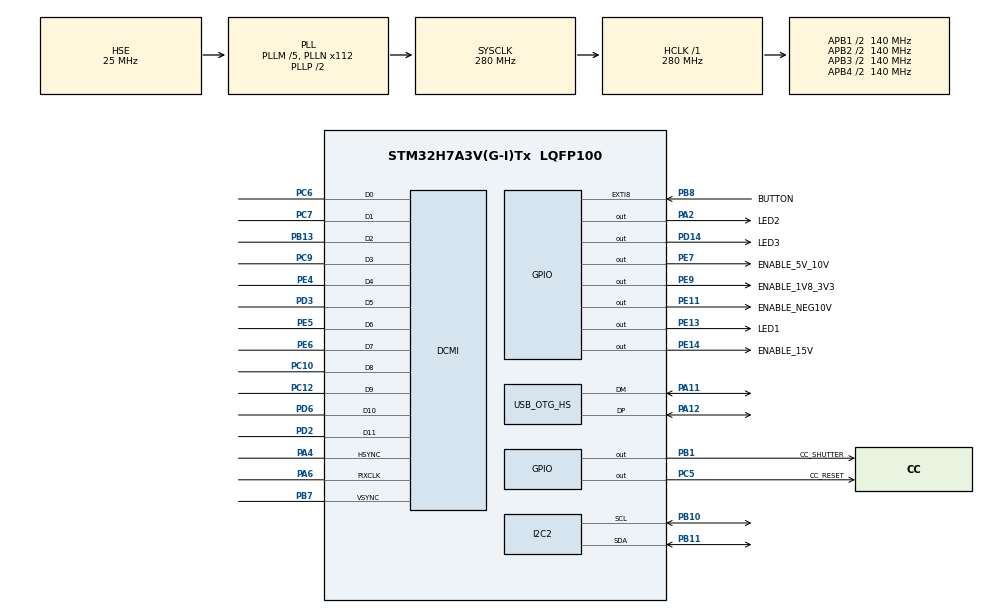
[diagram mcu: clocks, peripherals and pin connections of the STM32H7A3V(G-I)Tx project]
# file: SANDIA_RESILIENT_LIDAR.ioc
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CORTEX_M7.AccessPermission_Spec=MPU_REGION_FULL_ACCESS
CORTEX_M7.BaseAddress_Spec=0x30000000
CORTEX_M7.CPU_DCache=Enabled
CORTEX_M7.CPU_ICache=Enabled
CORTEX_M7.MPU_Control=MPU_PRIVILEGED_DEFAULT
CORTEX_M7.Size_Spec=MPU_REGION_SIZE_4KB
CORTEX_M7.SubRegionDisable_Spec=0x0
CORTEX_M7.default_mode_Activation=1
DCMI.HSPolarity=DCMI_HSPOLARITY_HIGH
DCMI.PCKPolarity=DCMI_PCKPOLARITY_FALLING
DCMI.VSPolarity=DCMI_VSPOLARITY_HIGH
Dma.DCMI.0.Direction=DMA_PERIPH_TO_MEMORY
Dma.DCMI.0.EventEnable=DISABLE
Dma.DCMI.0.FIFOMode=DMA_FIFOMODE_DISABLE
Dma.DCMI.0.Instance=DMA1_Stream0
Dma.DCMI.0.MemDataAlignment=DMA_MDATAALIGN_WORD
Dma.DCMI.0.MemInc=DMA_MINC_ENABLE
Dma.DCMI.0.Mode=DMA_NORMAL
Dma.DCMI.0.PeriphDataAlignment=DMA_PDATAALIGN_WORD
Dma.DCMI.0.PeriphInc=DMA_PINC_DISABLE
Dma.DCMI.0.Polarity=HAL_DMAMUX_REQ_GEN_RISING
Dma.DCMI.0.Priority=DMA_PRIORITY_LOW
Dma.DCMI.0.RequestNumber=1
Dma.DCMI.0.SignalID=NONE
Dma.DCMI.0.SyncEnable=DISABLE
Dma.DCMI.0.SyncPolarity=HAL_DMAMUX_SYNC_NO_EVENT
Dma.DCMI.0.SyncRequestNumber=1
Dma.DCMI.0.SyncSignalID=NONE
Dma.Request0=DCMI
I2C2.Timing=0x20B0CCFF
Mcu.Family=STM32H7
Mcu.Name=STM32H7A3V(G-I)Tx
Mcu.Package=LQFP100
NVIC.DCMI_PSSI_IRQn=true\:3\:0\:true\:false\:true\:true\:true\:true
NVIC.DMA1_Stream0_IRQn=true\:2\:0\:true\:false\:true\:false\:true\:true
NVIC.EXTI9_5_IRQn=true\:0\:0\:false\:false\:true\:true\:true\:true
NVIC.OTG_HS_IRQn=true\:3\:0\:true\:false\:true\:false\:true\:true
NVIC.PriorityGroup=NVIC_PRIORITYGROUP_4
PA11.GPIO_Speed=GPIO_SPEED_FREQ_VERY_HIGH
PA11.Mode=Device_Only_FS
PA11.Signal=USB_OTG_HS_DM
PA12.GPIO_Speed=GPIO_SPEED_FREQ_VERY_HIGH
PA12.Mode=Device_Only_FS
PA12.Signal=USB_OTG_HS_DP
PA13.Mode=Serial_Wire
PA13.Signal=DEBUG_JTMS-SWDIO
PA14.Mode=Serial_Wire
PA14.Signal=DEBUG_JTCK-SWCLK
PA2.GPIO_Label=LED2
PA2.GPIO_ModeDefaultOutputPP=GPIO_MODE_OUTPUT_PP
PA2.Signal=GPIO_Output
PA4.GPIO_Speed=GPIO_SPEED_FREQ_MEDIUM
PA4.Mode=Slave_12_bits_External_Synchro
PA4.Signal=DCMI_HSYNC
PA6.GPIO_Speed=GPIO_SPEED_FREQ_MEDIUM
PA6.Mode=Slave_12_bits_External_Synchro
PA6.Signal=DCMI_PIXCLK
PB1.GPIO_Label=CC_SHUTTER
PB1.Signal=GPIO_Output
PB10.GPIO_Pu=GPIO_NOPULL
PB10.GPIO_Speed=GPIO_SPEED_FREQ_MEDIUM
PB10.Mode=I2C
PB10.Signal=I2C2_SCL
PB11.GPIO_Pu=GPIO_NOPULL
PB11.GPIO_Speed=GPIO_SPEED_FREQ_MEDIUM
PB11.Mode=I2C
PB11.Signal=I2C2_SDA
PB13.GPIO_Speed=GPIO_SPEED_FREQ_MEDIUM
PB13.Mode=Slave_12_bits_External_Synchro
PB13.Signal=DCMI_D2
PB7.GPIO_Speed=GPIO_SPEED_FREQ_MEDIUM
PB7.Mode=Slave_12_bits_External_Synchro
PB7.Signal=DCMI_VSYNC
PB8.GPIO_Label=BUTTON
PB8.GPIO_ModeDefaultEXTI=GPIO_MODE_IT_FALLING
PB8.GPIO_PuPd=GPIO_PULLUP
PB8.Signal=GPXTI8
PC10.GPIO_Speed=GPIO_SPEED_FREQ_MEDIUM
PC10.Mode=Slave_12_bits_External_Synchro
PC10.Signal=DCMI_D8
PC12.GPIO_Speed=GPIO_SPEED_FREQ_MEDIUM
PC12.Mode=Slave_12_bits_External_Synchro
PC12.Signal=DCMI_D9
PC5.GPIO_Label=CC_RESET
PC5.PinState=GPIO_PIN_RESET
PC5.Signal=GPIO_Output
PC6.GPIO_Speed=GPIO_SPEED_FREQ_MEDIUM
PC6.Mode=Slave_12_bits_External_Synchro
PC6.Signal=DCMI_D0
PC7.GPIO_Speed=GPIO_SPEED_FREQ_MEDIUM
PC7.Mode=Slave_12_bits_External_Synchro
PC7.Signal=DCMI_D1
PC9.GPIO_Speed=GPIO_SPEED_FREQ_MEDIUM
PC9.Mode=Slave_12_bits_External_Synchro
PC9.Signal=DCMI_D3
PD14.GPIO_Label=LED3
PD14.Signal=GPIO_Output
PD2.GPIO_Speed=GPIO_SPEED_FREQ_MEDIUM
PD2.Mode=Slave_12_bits_External_Synchro
PD2.Signal=DCMI_D11
PD3.GPIO_Speed=GPIO_SPEED_FREQ_MEDIUM
PD3.Mode=Slave_12_bits_External_Synchro
PD3.Signal=DCMI_D5
PD6.GPIO_Speed=GPIO_SPEED_FREQ_MEDIUM
PD6.Mode=Slave_12_bits_External_Synchro
PD6.Signal=DCMI_D10
PE11.GPIO_Label=ENABLE_NEG10V
PE11.Signal=GPIO_Output
PE13.GPIO_Label=LED1
PE13.Signal=GPIO_Output
PE14.GPIO_Label=ENABLE_15V
PE14.Signal=GPIO_Output
PE4.GPIO_Speed=GPIO_SPEED_FREQ_MEDIUM
PE4.Mode=Slave_12_bits_External_Synchro
PE4.Signal=DCMI_D4
PE5.GPIO_Speed=GPIO_SPEED_FREQ_MEDIUM
PE5.Mode=Slave_12_bits_External_Synchro
PE5.Signal=DCMI_D6
PE6.GPIO_Speed=GPIO_SPEED_FREQ_MEDIUM
PE6.Mode=Slave_12_bits_External_Synchro
PE6.Signal=DCMI_D7
PE7.GPIO_Label=ENABLE_5V_10V
PE7.Signal=GPIO_Output
PE9.GPIO_Label=ENABLE_1V8_3V3
PE9.Signal=GPIO_Output
PH0-OSC_IN.Mode=HSE-External-Oscillator
PH0-OSC_IN.Signal=RCC_OSC_IN
PH1-OSC_OUT.Mode=HSE-External-Oscillator
PH1-OSC_OUT.Signal=RCC_OSC_OUT
ProjectManager.HeapSize=0x200
ProjectManager.StackSize=0x400
ProjectManager.TargetToolchain=STM32CubeIDE
RCC.ADCFreq_Value=50390625
RCC.APB1Freq_Value=140000000
RCC.APB2Freq_Value=140000000
RCC.APB3Freq_Value=140000000
RCC.APB4Freq_Value=140000000
RCC.CDPPRE=RCC_APB3_DIV2
RCC.CDPPRE1=RCC_APB1_DIV2
RCC.CDPPRE2=RCC_APB2_DIV2
RCC.CortexFreq_Value=280000000
RCC.DIVM1=5
RCC.DIVM3=5
RCC.DIVN1=112
RCC.DIVN3=96
RCC.DIVQ3=10
RCC.HCLKFreq_Value=280000000
RCC.HSE_VALUE=25000000
RCC.PLLSourceVirtual=RCC_PLLSOURCE_HSE
RCC.SRDPPRE=RCC_APB4_DIV2
RCC.SYSCLKFreq_VALUE=280000000
RCC.SYSCLKSource=RCC_SYSCLKSOURCE_PLLCLK
RCC.USBCLockSelection=RCC_USBCLKSOURCE_PLL3
RCC.USBFreq_Value=48000000
USB_DEVICE.CLASS_NAME_HS=CDC
USB_DEVICE.VirtualMode=Cdc
USB_DEVICE.VirtualModeHS=Cdc_HS
USB_OTG_HS.VirtualMode-Device_Only_FS=Device_Only_FS
VP_MEMORYMAP_VS_MEMORYMAP.Mode=CurAppReg
VP_USB_DEVICE_VS_USB_DEVICE_CDC_HS.Mode=CDC_HS
board=custom

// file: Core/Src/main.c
/* USER CODE BEGIN Header */
/**
  ******************************************************************************
  * @file           : main.c
  * @brief          : Main program body
  ******************************************************************************
  * @attention
  *
  * Copyright (c) 2026 STMicroelectronics.
  * All rights reserved.
  *
  * This software is licensed under terms that can be found in the LICENSE file
  * in the root directory of this software component.
  * If no LICENSE file comes with this software, it is provided AS-IS.
  *
  ******************************************************************************
  */
/* USER CODE END Header */
#include "main.h"
#include "usb_device.h"

/* USER CODE BEGIN Includes */
#include <stdio.h>
#include <string.h>
#include <stdarg.h>

#include "usbd_cdc_if.h"
#include "usbd_core.h"
#include "usbd_desc.h"

#include "core_cm7.h"

#include "epc660.h"
#include "epc660_platform.h"
#include "epc660_config.h"
#include "epc660_reg.h"
#include "usb_stream.h"
#include "capture_controller.h"
/* USER CODE END Includes */

/* USER CODE BEGIN PTD */

typedef enum
{
  CAPTURE_4DCS = 0,
  CAPTURE_2DCS,
  CAPTURE_AMPLITUDE,
  CAPTURE_GRAYSCALE
} capture_types;

typedef enum
{
  EPC660_POWER_ON = 0,
  EPC660_POWER_OFF
} epc660_power_state_t;

/* USER CODE END PTD */

/* USER CODE BEGIN PD */
#define IMG_WIDTH 320
#define IMG_HEIGHT 240
#define SINGLE_FRAME_SIZE (IMG_WIDTH * IMG_HEIGHT)
#define NUM_FRAMES 4

#define PHASE_TO_U16_SCALE (10430.378f)
#define BUTTON_DEBOUNCE_MS 150U
#define POWER_OFF_BLINK_MS 100U
#define CAPTURE_WAIT_TIMEOUT_MS 2000U

#ifndef M_PI
#define M_PI (3.14159265358979323846)
#endif
/* USER CODE END PD */

DCMI_HandleTypeDef hdcmi;
DMA_HandleTypeDef hdma_dcmi;

I2C_HandleTypeDef hi2c2;

/* USER CODE BEGIN PV */

/******************************* DEBUGGING TRIGGERS *******************************/
static volatile uint8_t trigger_debug = 0;
static volatile uint8_t trigger_amplitude = 0;
/******************************* DEBUGGING TRIGGERS *******************************/

extern uint8_t UserTxBufferHS[]; /* Access the buffer we moved to Safe RAM */
extern USBD_HandleTypeDef hUsbDeviceHS;
extern PCD_HandleTypeDef hpcd_USB_OTG_HS;

static uint16_t quad_frame_buffer[IMG_WIDTH*IMG_HEIGHT*NUM_FRAMES] __attribute__((aligned(32)));

// One buffer to reference frame angles
static uint16_t reference_angle_buffer[SINGLE_FRAME_SIZE] __attribute__((aligned(32)));

// One buffer for current frame angles
static uint16_t current_angle_buffer[SINGLE_FRAME_SIZE] __attribute__((aligned(32)));

// Active buffer to transmit over USB (processed output or raw grayscale frame)
static uint16_t* current_output_buffer = current_angle_buffer;

// A "flag" to signal when a frame is ready to be sent
static volatile uint8_t frame_ready = 0;

// Pointers to the start of each frame
static uint16_t* p_frame1 = &quad_frame_buffer[SINGLE_FRAME_SIZE * 0];
static uint16_t* p_frame2 = &quad_frame_buffer[SINGLE_FRAME_SIZE * 1];
static uint16_t* p_frame3 = &quad_frame_buffer[SINGLE_FRAME_SIZE * 2];
static uint16_t* p_frame4 = &quad_frame_buffer[SINGLE_FRAME_SIZE * 3];

static const uint32_t k_dcmi_dma_length = (SINGLE_FRAME_SIZE * NUM_FRAMES) / 2;
static const uint32_t k_dcmi_dma_length_grayscale = SINGLE_FRAME_SIZE / 2;
static uint32_t current_dcmi_dma_length = k_dcmi_dma_length;

static volatile uint8_t all_frames_ready = 0;
static volatile capture_types current_capture_type = CAPTURE_4DCS;
volatile uint8_t g_usb_capture_request_pending = 0;
volatile uint8_t g_usb_status_request_pending = 0;
static volatile uint8_t dcmi_error_flag = 0;
static volatile uint8_t reset_epc660_flag = 0;
static volatile epc660_power_state_t epc660_power_state = EPC660_POWER_ON;
static volatile uint8_t epc660_power_toggle_request = 0;
static volatile uint32_t button_last_press_ms = 0;
static volatile uint32_t saturated_pixel_count = 0;

static volatile uint32_t dbg_stats_valid_count = 0;
static volatile uint32_t dbg_stats_saturated_count = 0;
static volatile float dbg_mean_dcs0 = 0.0f;
static volatile float dbg_mean_dcs1 = 0.0f;
static volatile float dbg_mean_dcs2 = 0.0f;
static volatile float dbg_mean_dcs3 = 0.0f;
static volatile float dbg_mean_abs_i = 0.0f;
static volatile float dbg_mean_abs_q = 0.0f;

static volatile capture_sm_state_t capture_sm_state = CAPTURE_SM_IDLE;
static volatile uint8_t capture_request_active = 0;
static volatile uint8_t capture_recovery_attempted = 0;
static volatile uint32_t capture_wait_start_ms = 0;

static volatile uint32_t shutter_count = 0;
static volatile uint32_t start_dma_ok_count = 0;
static volatile uint32_t start_dma_fail_count = 0;
static volatile uint32_t frame_cb_count = 0;
static volatile uint32_t frame_timeout_count = 0;
static volatile uint32_t tx_frame_ok_count = 0;
static volatile uint32_t tx_frame_abort_count = 0;
static volatile uint32_t power_cycle_count = 0;
static volatile uint32_t pause_resume_count = 0;

extern USBD_HandleTypeDef hUsbDeviceHS;

// Some timer variables to be used with DWT
static volatile uint32_t tDCMI_start, tDCMI_end;

// Watchdog counter
volatile uint32_t g_last_feed_time = 0;

/* USER CODE END PV */

void SystemClock_Config(void);
static void MPU_Config(void);
static void MX_GPIO_Init(void);
static void MX_DMA_Init(void);
static void MX_I2C2_Init(void);
static void MX_DCMI_Init(void);
/* USER CODE BEGIN PFP */

static uint8_t process_and_transmit_data(void);
static void handle_dcmi_error(void);
static epc_status_t apply_capture_preset(void);
static void handle_epc660_reset(void);
static void handle_epc660_power_toggle_request(void);
static epc_status_t power_up_epc660_and_resume_capture(void);
static void power_down_epc660(void);
static void usb_stop_cleanly(void);
static void usb_start_nonfatal(void);
static void dcmi_stop_abort_and_clear(void);
static void reset_capture_runtime_flags(void);
static uint8_t start_capture_once(void);
static void process_usb_command_queue(void);
static uint8_t send_usb_command_response(uint8_t sequence,
                                         uint8_t command,
                                         uint8_t status,
                                         const uint8_t* payload,
                                         uint8_t payload_len);
static uint16_t usb_cmd_crc16_ccitt(const uint8_t* data, uint32_t length);
static void send_debug_status_line(void);
static void run_capture_state_machine(void);
void calculate_depth_simple(void);
void calculate_amplitude_simple(void);
void calculate_grayscale_simple(void);

epc_status_t default_preset_4DCS();
epc_status_t default_preset_grayscale();
epc_status_t testing_preset();
epc_status_t testing_preset2();

/* USER CODE END PFP */

int main(void)
{

  /* MPU Configuration--------------------------------------------------------*/
  MPU_Config();

  /* Enable the CPU Cache */

  /* Enable I-Cache---------------------------------------------------------*/
  SCB_EnableICache();

  /* Enable D-Cache---------------------------------------------------------*/
  SCB_EnableDCache();

  /* MCU Configuration--------------------------------------------------------*/

  /* Reset of all peripherals, Initializes the Flash interface and the Systick. */
  HAL_Init();

  /* Configure the system clock */
  SystemClock_Config();

  /* Initialize all configured peripherals */
  MX_GPIO_Init();
  MX_DMA_Init();
  MX_I2C2_Init();
  //MX_USB_DEVICE_Init();
  MX_DCMI_Init();
  /* USER CODE BEGIN 2 */

  // This is a replacement of DWT_init
  epc_timer_init();

  // TODO: Should be removed from this section
  uint32_t loop_tick = 0;
  uint32_t frame_timeout_ms = 5000;

  (void)epc_i2c_recover_bus();
  epc_status_t init_status = epc660_power_up();
  if (init_status == EPC_OK)
  {
    init_status = epc660_init();
  }

  if (init_status != EPC_OK)
  {
    power_down_epc660();
  }

  usb_start_nonfatal();

  all_frames_ready = 0;

  if (epc660_power_state == EPC660_POWER_ON)
  {
    epc_status_t preset_status = apply_capture_preset();

    if (preset_status != EPC_OK)
    {
      power_down_epc660();
    }
    else
    {
      reset_capture_runtime_flags();
      capture_sm_state = CAPTURE_SM_IDLE;
    }
  }

  /* USER CODE END 2 */

  /* Infinite loop */
  /* USER CODE BEGIN WHILE */
  while (1)
  {
    // Feed the dog	TODO: Currently disabled, need to re-enable later
    g_last_feed_time = HAL_GetTick();

    if (epc660_power_toggle_request == 1)
    {
      handle_epc660_power_toggle_request();
    }

    process_usb_command_queue();

    if (g_usb_status_request_pending != 0U)
    {
      send_debug_status_line();
      g_usb_status_request_pending = 0U;
    }

    if (epc660_power_state == EPC660_POWER_OFF)
    {
      HAL_GPIO_TogglePin(LED1_GPIO_Port, LED1_Pin);
      HAL_Delay(POWER_OFF_BLINK_MS);
      continue;
    }

	  // Blinking light to make sure main loop is still running
	  if (HAL_GetTick() - loop_tick > frame_timeout_ms)
	  {
		  HAL_GPIO_TogglePin(LED2_GPIO_Port, LED2_Pin);
		  loop_tick = HAL_GetTick();
	  }

	  // If user sends configuration information
	  // If time to do temperature calibration

    run_capture_state_machine();

    if (reset_epc660_flag == 1)
    {
      handle_epc660_reset();
    }
    /* USER CODE END WHILE */

    /* USER CODE BEGIN 3 */
    // Feed the dog	TODO: Currently disabled, need to re-enable later
    if (trigger_debug == 1)
    {
      default_preset_4DCS();
      default_preset_grayscale();
      testing_preset2();
    }
  }
  /* USER CODE END 3 */
}

void SystemClock_Config(void)
{
  RCC_OscInitTypeDef RCC_OscInitStruct = {0};
  RCC_ClkInitTypeDef RCC_ClkInitStruct = {0};

  /*AXI clock gating */
  RCC->CKGAENR = 0xE003FFFF;

  /** Supply configuration update enable
  */
  HAL_PWREx_ConfigSupply(PWR_LDO_SUPPLY);

  /** Configure the main internal regulator output voltage
  */
  __HAL_PWR_VOLTAGESCALING_CONFIG(PWR_REGULATOR_VOLTAGE_SCALE0);

  while(!__HAL_PWR_GET_FLAG(PWR_FLAG_VOSRDY)) {}

  /** Initializes the RCC Oscillators according to the specified parameters
  * in the RCC_OscInitTypeDef structure.
  */
  RCC_OscInitStruct.OscillatorType = RCC_OSCILLATORTYPE_HSE;
  RCC_OscInitStruct.HSEState = RCC_HSE_ON;
  RCC_OscInitStruct.PLL.PLLState = RCC_PLL_ON;
  RCC_OscInitStruct.PLL.PLLSource = RCC_PLLSOURCE_HSE;
  RCC_OscInitStruct.PLL.PLLM = 5;
  RCC_OscInitStruct.PLL.PLLN = 112;
  RCC_OscInitStruct.PLL.PLLP = 2;
  RCC_OscInitStruct.PLL.PLLQ = 2;
  RCC_OscInitStruct.PLL.PLLR = 2;
  RCC_OscInitStruct.PLL.PLLRGE = RCC_PLL1VCIRANGE_2;
  RCC_OscInitStruct.PLL.PLLVCOSEL = RCC_PLL1VCOWIDE;
  RCC_OscInitStruct.PLL.PLLFRACN = 0;
  if (HAL_RCC_OscConfig(&RCC_OscInitStruct) != HAL_OK)
  {
    Error_Handler();
  }

  /** Initializes the CPU, AHB and APB buses clocks
  */
  RCC_ClkInitStruct.ClockType = RCC_CLOCKTYPE_HCLK|RCC_CLOCKTYPE_SYSCLK
                              |RCC_CLOCKTYPE_PCLK1|RCC_CLOCKTYPE_PCLK2
                              |RCC_CLOCKTYPE_D3PCLK1|RCC_CLOCKTYPE_D1PCLK1;
  RCC_ClkInitStruct.SYSCLKSource = RCC_SYSCLKSOURCE_PLLCLK;
  RCC_ClkInitStruct.SYSCLKDivider = RCC_SYSCLK_DIV1;
  RCC_ClkInitStruct.AHBCLKDivider = RCC_HCLK_DIV1;
  RCC_ClkInitStruct.APB3CLKDivider = RCC_APB3_DIV2;
  RCC_ClkInitStruct.APB1CLKDivider = RCC_APB1_DIV2;
  RCC_ClkInitStruct.APB2CLKDivider = RCC_APB2_DIV2;
  RCC_ClkInitStruct.APB4CLKDivider = RCC_APB4_DIV2;

  if (HAL_RCC_ClockConfig(&RCC_ClkInitStruct, FLASH_LATENCY_6) != HAL_OK)
  {
    Error_Handler();
  }
}

static void MX_DCMI_Init(void)
{

  hdcmi.Instance = DCMI;
  hdcmi.Init.SynchroMode = DCMI_SYNCHRO_HARDWARE;
  hdcmi.Init.PCKPolarity = DCMI_PCKPOLARITY_FALLING;
  hdcmi.Init.VSPolarity = DCMI_VSPOLARITY_HIGH;
  hdcmi.Init.HSPolarity = DCMI_HSPOLARITY_HIGH;
  hdcmi.Init.CaptureRate = DCMI_CR_ALL_FRAME;
  hdcmi.Init.ExtendedDataMode = DCMI_EXTEND_DATA_12B;
  hdcmi.Init.JPEGMode = DCMI_JPEG_DISABLE;
  hdcmi.Init.ByteSelectMode = DCMI_BSM_ALL;
  hdcmi.Init.ByteSelectStart = DCMI_OEBS_ODD;
  hdcmi.Init.LineSelectMode = DCMI_LSM_ALL;
  hdcmi.Init.LineSelectStart = DCMI_OELS_ODD;
  if (HAL_DCMI_Init(&hdcmi) != HAL_OK)
  {
    Error_Handler();
  }

}

static void MX_I2C2_Init(void)
{

  hi2c2.Instance = I2C2;
  hi2c2.Init.Timing = 0x20B0CCFF;
  hi2c2.Init.OwnAddress1 = 0;
  hi2c2.Init.AddressingMode = I2C_ADDRESSINGMODE_7BIT;
  hi2c2.Init.DualAddressMode = I2C_DUALADDRESS_DISABLE;
  hi2c2.Init.OwnAddress2 = 0;
  hi2c2.Init.OwnAddress2Masks = I2C_OA2_NOMASK;
  hi2c2.Init.GeneralCallMode = I2C_GENERALCALL_DISABLE;
  hi2c2.Init.NoStretchMode = I2C_NOSTRETCH_DISABLE;
  if (HAL_I2C_Init(&hi2c2) != HAL_OK)
  {
    Error_Handler();
  }

  /** Configure Analogue filter
  */
  if (HAL_I2CEx_ConfigAnalogFilter(&hi2c2, I2C_ANALOGFILTER_ENABLE) != HAL_OK)
  {
    Error_Handler();
  }

  /** Configure Digital filter
  */
  if (HAL_I2CEx_ConfigDigitalFilter(&hi2c2, 0) != HAL_OK)
  {
    Error_Handler();
  }

}

static void MX_DMA_Init(void)
{

  /* DMA controller clock enable */
  __HAL_RCC_DMA1_CLK_ENABLE();

  /* DMA interrupt init */
  /* DMA1_Stream0_IRQn interrupt configuration */
  HAL_NVIC_SetPriority(DMA1_Stream0_IRQn, 2, 0);
  HAL_NVIC_EnableIRQ(DMA1_Stream0_IRQn);

}

static void MX_GPIO_Init(void)
{
  GPIO_InitTypeDef GPIO_InitStruct = {0};

  /* GPIO Ports Clock Enable */
  __HAL_RCC_GPIOE_CLK_ENABLE();
  __HAL_RCC_GPIOH_CLK_ENABLE();
  __HAL_RCC_GPIOA_CLK_ENABLE();
  __HAL_RCC_GPIOC_CLK_ENABLE();
  __HAL_RCC_GPIOB_CLK_ENABLE();
  __HAL_RCC_GPIOD_CLK_ENABLE();

  /*Configure GPIO pin Output Level */
  HAL_GPIO_WritePin(LED2_GPIO_Port, LED2_Pin, GPIO_PIN_RESET);

  /*Configure GPIO pin Output Level */
  HAL_GPIO_WritePin(CC_RESET_GPIO_Port, CC_RESET_Pin, GPIO_PIN_RESET);

  /*Configure GPIO pin Output Level */
  HAL_GPIO_WritePin(CC_SHUTTER_GPIO_Port, CC_SHUTTER_Pin, GPIO_PIN_RESET);

  /*Configure GPIO pin Output Level */
  HAL_GPIO_WritePin(GPIOE, ENABLE_5V_10V_Pin|ENABLE_1V8_3V3_Pin|ENABLE_NEG10V_Pin|LED1_Pin
                          |ENABLE_15V_Pin, GPIO_PIN_RESET);

  /*Configure GPIO pin Output Level */
  HAL_GPIO_WritePin(LED3_GPIO_Port, LED3_Pin, GPIO_PIN_RESET);

  /*Configure GPIO pin : LED2_Pin */
  GPIO_InitStruct.Pin = LED2_Pin;
  GPIO_InitStruct.Mode = GPIO_MODE_OUTPUT_PP;
  GPIO_InitStruct.Pull = GPIO_NOPULL;
  GPIO_InitStruct.Speed = GPIO_SPEED_FREQ_LOW;
  HAL_GPIO_Init(LED2_GPIO_Port, &GPIO_InitStruct);

  /*Configure GPIO pin : CC_RESET_Pin */
  GPIO_InitStruct.Pin = CC_RESET_Pin;
  GPIO_InitStruct.Mode = GPIO_MODE_OUTPUT_PP;
  GPIO_InitStruct.Pull = GPIO_NOPULL;
  GPIO_InitStruct.Speed = GPIO_SPEED_FREQ_LOW;
  HAL_GPIO_Init(CC_RESET_GPIO_Port, &GPIO_InitStruct);

  /*Configure GPIO pin : CC_SHUTTER_Pin */
  GPIO_InitStruct.Pin = CC_SHUTTER_Pin;
  GPIO_InitStruct.Mode = GPIO_MODE_OUTPUT_PP;
  GPIO_InitStruct.Pull = GPIO_NOPULL;
  GPIO_InitStruct.Speed = GPIO_SPEED_FREQ_LOW;
  HAL_GPIO_Init(CC_SHUTTER_GPIO_Port, &GPIO_InitStruct);

  /*Configure GPIO pins : ENABLE_5V_10V_Pin ENABLE_1V8_3V3_Pin ENABLE_NEG10V_Pin LED1_Pin
                           ENABLE_15V_Pin */
  GPIO_InitStruct.Pin = ENABLE_5V_10V_Pin|ENABLE_1V8_3V3_Pin|ENABLE_NEG10V_Pin|LED1_Pin
                          |ENABLE_15V_Pin;
  GPIO_InitStruct.Mode = GPIO_MODE_OUTPUT_PP;
  GPIO_InitStruct.Pull = GPIO_NOPULL;
  GPIO_InitStruct.Speed = GPIO_SPEED_FREQ_LOW;
  HAL_GPIO_Init(GPIOE, &GPIO_InitStruct);

  /*Configure GPIO pin : LED3_Pin */
  GPIO_InitStruct.Pin = LED3_Pin;
  GPIO_InitStruct.Mode = GPIO_MODE_OUTPUT_PP;
  GPIO_InitStruct.Pull = GPIO_NOPULL;
  GPIO_InitStruct.Speed = GPIO_SPEED_FREQ_LOW;
  HAL_GPIO_Init(LED3_GPIO_Port, &GPIO_InitStruct);

  /*Configure GPIO pin : BUTTON_Pin */
  GPIO_InitStruct.Pin = BUTTON_Pin;
  GPIO_InitStruct.Mode = GPIO_MODE_IT_FALLING;
  GPIO_InitStruct.Pull = GPIO_PULLUP;
  HAL_GPIO_Init(BUTTON_GPIO_Port, &GPIO_InitStruct);

  /* EXTI interrupt init*/
  HAL_NVIC_SetPriority(BUTTON_EXTI_IRQn, 0, 0);
  HAL_NVIC_EnableIRQ(BUTTON_EXTI_IRQn);

}

/* USER CODE BEGIN 4 */
/************************************************* USER DEFINED FUNCTIONS ********************************************/
/************************************************* USER DEFINED FUNCTIONS ********************************************/
/************************************************* USER DEFINED FUNCTIONS ********************************************/
static uint8_t process_and_transmit_data(void)
{
  uint8_t frame_processed = 0;
  uint8_t transmit_raw_quad = 0;
  uint8_t tx_ok = 0;

  all_frames_ready = 0;
  SCB_InvalidateDCache_by_Addr((uint32_t*)quad_frame_buffer, current_dcmi_dma_length * sizeof(uint32_t));

  switch (current_capture_type)
  {
    case CAPTURE_AMPLITUDE:
      calculate_amplitude_simple();
      frame_processed = 1;
      break;

    case CAPTURE_4DCS:
      transmit_raw_quad = 1;
      break;

    case CAPTURE_GRAYSCALE:
      calculate_grayscale_simple();
      frame_processed = 1;
      break;

    case CAPTURE_2DCS:
    default:
      break;
  }

  if (transmit_raw_quad != 0)
  {
    SCB_CleanDCache_by_Addr((uint32_t*)quad_frame_buffer, SINGLE_FRAME_SIZE * NUM_FRAMES * 2);
    tx_ok = usb_stream_transmit_quad_frame(quad_frame_buffer,
                         SINGLE_FRAME_SIZE,
                         NUM_FRAMES);
  }
  else
  {
    if (frame_processed != 0)
    {
      SCB_CleanDCache_by_Addr((uint32_t*)current_output_buffer, SINGLE_FRAME_SIZE * 2);
    }

    tx_ok = usb_stream_transmit_frame(current_output_buffer,
                      SINGLE_FRAME_SIZE);
  }

  return tx_ok;
}

static epc_status_t apply_capture_preset(void)
{
  epc_status_t preset_status = EPC_OK;

  switch (current_capture_type)
  {
    case CAPTURE_4DCS:
      preset_status = default_preset_4DCS();
      current_dcmi_dma_length = k_dcmi_dma_length;
      current_output_buffer = current_angle_buffer;
      break;

    case CAPTURE_2DCS:
      preset_status = testing_preset();
      current_dcmi_dma_length = k_dcmi_dma_length;
      current_output_buffer = current_angle_buffer;
      break;

    case CAPTURE_AMPLITUDE:
      preset_status = testing_preset();
      current_dcmi_dma_length = k_dcmi_dma_length;
      current_output_buffer = current_angle_buffer;
      break;

    case CAPTURE_GRAYSCALE:
      preset_status = default_preset_grayscale();
      current_dcmi_dma_length = k_dcmi_dma_length_grayscale;
      current_output_buffer = current_angle_buffer;
      break;

    default:
      preset_status = testing_preset();
      current_dcmi_dma_length = k_dcmi_dma_length;
      current_output_buffer = current_angle_buffer;
      break;
  }

  return preset_status;
}

static void handle_epc660_reset(void)
{
  reset_epc660_flag = 0;
  reset_capture_runtime_flags();
  dcmi_stop_abort_and_clear();

  epc_reset_pin_set(0);
  epc_delay_ms(1);
  epc_reset_pin_set(1);
  epc_delay_ms(2);

  if (epc660_init() != EPC_OK)
  {
    power_down_epc660();
    return;
  }

  if (apply_capture_preset() != EPC_OK)
  {
    power_down_epc660();
    return;
  }

  capture_sm_state = CAPTURE_SM_IDLE;
}

static void handle_epc660_power_toggle_request(void)
{
  epc660_power_toggle_request = 0;
  pause_resume_count++;
  HAL_GPIO_WritePin(LED1_GPIO_Port, LED1_Pin, GPIO_PIN_RESET);

  if (epc660_power_state == EPC660_POWER_ON)
  {
    power_down_epc660();
  }
  else if (power_up_epc660_and_resume_capture() != EPC_OK)
  {
    power_down_epc660();
  }
}

static void power_down_epc660(void)
{
  reset_capture_runtime_flags();
  dcmi_stop_abort_and_clear();

  __HAL_DCMI_DISABLE_IT(&hdcmi,
                        DCMI_IT_FRAME |
                        DCMI_IT_OVF |
                        DCMI_IT_ERR |
                        DCMI_IT_VSYNC |
                        DCMI_IT_LINE);

  __HAL_DCMI_CLEAR_FLAG(&hdcmi,
                        DCMI_FLAG_FRAMERI |
                        DCMI_FLAG_OVRRI |
                        DCMI_FLAG_ERRRI |
                        DCMI_FLAG_VSYNCRI |
                        DCMI_FLAG_LINERI);

  hdcmi.ErrorCode = HAL_DCMI_ERROR_NONE;
  HAL_NVIC_DisableIRQ(DMA1_Stream0_IRQn);

  usb_stop_cleanly();

  epc660_power_down();
  epc660_power_state = EPC660_POWER_OFF;

  // Keep USB reachable even when EPC rails are off so host-side diagnostics
  // and recovery commands remain available.
  usb_start_nonfatal();
}

static epc_status_t power_up_epc660_and_resume_capture(void)
{
  uint8_t was_powered_off = (epc660_power_state == EPC660_POWER_OFF) ? 1U : 0U;

  if (epc_i2c_recover_bus() != EPC_OK)
  {
    // Continue with power-up attempt even if bus recovery did not report success.
  }

  if (epc660_power_up() != EPC_OK)
  {
    power_down_epc660();
    return EPC_ERR;
  }

  // Bring USB back after EPC rails are enabled. If host is absent, keep running.
  usb_start_nonfatal();

  if (epc660_init() != EPC_OK)
  {
    power_down_epc660();
    return EPC_ERR;
  }

  if (apply_capture_preset() != EPC_OK)
  {
    power_down_epc660();
    return EPC_ERR;
  }
  epc660_power_state = EPC660_POWER_ON;
  if (was_powered_off != 0U)
  {
    power_cycle_count++;
  }
  reset_capture_runtime_flags();
  capture_sm_state = CAPTURE_SM_IDLE;

  __HAL_DCMI_CLEAR_FLAG(&hdcmi,
                        DCMI_FLAG_FRAMERI |
                        DCMI_FLAG_OVRRI |
                        DCMI_FLAG_ERRRI |
                        DCMI_FLAG_VSYNCRI |
                        DCMI_FLAG_LINERI);

  hdcmi.ErrorCode = HAL_DCMI_ERROR_NONE;

  HAL_NVIC_EnableIRQ(DMA1_Stream0_IRQn);
  __HAL_DCMI_ENABLE_IT(&hdcmi,
                       DCMI_IT_FRAME |
                       DCMI_IT_OVF |
                       DCMI_IT_ERR |
                       DCMI_IT_VSYNC |
                       DCMI_IT_LINE);

  return EPC_OK;
}

static void usb_stop_cleanly(void)
{
  // If USB stack was never initialized, pData is NULL and LL stop/deinit would hardfault.
  if (hUsbDeviceHS.pData != NULL)
  {
    (void)USBD_Stop(&hUsbDeviceHS);
    (void)USBD_DeInit(&hUsbDeviceHS);
    hUsbDeviceHS.pData = NULL;
  }

  HAL_NVIC_DisableIRQ(OTG_HS_IRQn);
  NVIC_ClearPendingIRQ(OTG_HS_IRQn);
}

static void usb_start_nonfatal(void)
{
  if (hUsbDeviceHS.dev_state == USBD_STATE_CONFIGURED)
  {
    return;
  }

  usb_stop_cleanly();
  HAL_NVIC_EnableIRQ(OTG_HS_IRQn);

  if (USBD_Init(&hUsbDeviceHS, &HS_Desc, DEVICE_HS) != USBD_OK)
  {
    return;
  }

  if (USBD_RegisterClass(&hUsbDeviceHS, &USBD_CDC) != USBD_OK)
  {
    (void)USBD_DeInit(&hUsbDeviceHS);
    return;
  }

  if (USBD_CDC_RegisterInterface(&hUsbDeviceHS, &USBD_Interface_fops_HS) != USBD_OK)
  {
    (void)USBD_DeInit(&hUsbDeviceHS);
    return;
  }

  if (USBD_Start(&hUsbDeviceHS) != USBD_OK)
  {
    (void)USBD_DeInit(&hUsbDeviceHS);
    return;
  }

  HAL_PWREx_EnableUSBVoltageDetector();
}

static void dcmi_stop_abort_and_clear(void)
{
  HAL_DCMI_Stop(&hdcmi);

  if (hdcmi.DMA_Handle != NULL)
  {
    (void)HAL_DMA_Abort(hdcmi.DMA_Handle);
  }

  __HAL_DCMI_CLEAR_FLAG(&hdcmi,
                        DCMI_FLAG_FRAMERI |
                        DCMI_FLAG_OVRRI |
                        DCMI_FLAG_ERRRI |
                        DCMI_FLAG_VSYNCRI |
                        DCMI_FLAG_LINERI);

  hdcmi.ErrorCode = HAL_DCMI_ERROR_NONE;
}

static void reset_capture_runtime_flags(void)
{
  all_frames_ready = 0;
  frame_ready = 0;
  dcmi_error_flag = 0;
  g_usb_capture_request_pending = 0;
  capture_request_active = 0;
  capture_recovery_attempted = 0;
  capture_wait_start_ms = 0;
}

static uint8_t start_capture_once(void)
{
  all_frames_ready = 0;
  frame_ready = 0;
  dcmi_error_flag = 0;

  SCB_InvalidateDCache_by_Addr((uint32_t*)quad_frame_buffer, current_dcmi_dma_length * sizeof(uint32_t));

  if (HAL_DCMI_Start_DMA(&hdcmi, DCMI_MODE_CONTINUOUS, (uint32_t)quad_frame_buffer, current_dcmi_dma_length) != HAL_OK)
  {
    start_dma_fail_count++;
    return 0;
  }

  start_dma_ok_count++;
  epc660_trigger_hw_shutter();
  shutter_count++;
  capture_wait_start_ms = HAL_GetTick();
  return 1;
}

static void process_usb_command_queue(void)
{
  usb_cmd_packet_t packet;

  while (usb_cmd_try_dequeue(&packet) != 0U)
  {
    switch (packet.command_id)
    {
      case USB_CMD_GET_FRAME:
        g_usb_capture_request_pending = 1U;
        break;

      case USB_CMD_GET_STATUS:
        g_usb_status_request_pending = 1U;
        break;

      case USB_CMD_SET_MOD_DIVIDER:
      {
        epc_status_t status;

        if (packet.payload_len != 1U)
        {
          (void)send_usb_command_response(packet.sequence,
                                          packet.command_id,
                                          USB_CMD_STATUS_BAD_LENGTH,
                                          NULL,
                                          0U);
          break;
        }

        if (epc660_power_state != EPC660_POWER_ON)
        {
          (void)send_usb_command_response(packet.sequence,
                                          packet.command_id,
                                          USB_CMD_STATUS_REJECTED,
                                          NULL,
                                          0U);
          break;
        }

        status = epc_set_modulation_divider(packet.payload[0]);
        (void)send_usb_command_response(packet.sequence,
                                        packet.command_id,
                                        (status == EPC_OK) ? USB_CMD_STATUS_OK : USB_CMD_STATUS_DEVICE_ERROR,
                                        NULL,
                                        0U);
        break;
      }

      case USB_CMD_SET_INTEGRATION_RAW:
      {
        uint8_t integration_slot;
        uint16_t integration_raw;
        epc_status_t status;

        if (packet.payload_len != 3U)
        {
          (void)send_usb_command_response(packet.sequence,
                                          packet.command_id,
                                          USB_CMD_STATUS_BAD_LENGTH,
                                          NULL,
                                          0U);
          break;
        }

        if (epc660_power_state != EPC660_POWER_ON)
        {
          (void)send_usb_command_response(packet.sequence,
                                          packet.command_id,
                                          USB_CMD_STATUS_REJECTED,
                                          NULL,
                                          0U);
          break;
        }

        integration_slot = packet.payload[0];
        integration_raw = (uint16_t)packet.payload[1] | ((uint16_t)packet.payload[2] << 8);

        status = epc_set_integration_time_raw(integration_slot, integration_raw);
        (void)send_usb_command_response(packet.sequence,
                                        packet.command_id,
                                        (status == EPC_OK) ? USB_CMD_STATUS_OK : USB_CMD_STATUS_DEVICE_ERROR,
                                        NULL,
                                        0U);
        break;
      }

      default:
        (void)send_usb_command_response(packet.sequence,
                                        packet.command_id,
                                        USB_CMD_STATUS_UNSUPPORTED,
                                        NULL,
                                        0U);
        break;
    }
  }
}

static uint8_t send_usb_command_response(uint8_t sequence,
                                         uint8_t command,
                                         uint8_t status,
                                         const uint8_t* payload,
                                         uint8_t payload_len)
{
  uint8_t frame[6U + USB_CMD_MAX_PAYLOAD + 2U];
  uint8_t response_payload_len;
  uint16_t crc;
  uint8_t frame_len;

  if (payload_len > (USB_CMD_MAX_PAYLOAD - 2U))
  {
    return 0U;
  }

  response_payload_len = (uint8_t)(payload_len + 2U);

  frame[0] = USB_CMD_MAGIC_0;
  frame[1] = USB_CMD_MAGIC_1;
  frame[2] = USB_CMD_VERSION_1;
  frame[3] = USB_CMD_RESPONSE;
  frame[4] = sequence;
  frame[5] = response_payload_len;
  frame[6] = command;
  frame[7] = status;

  if ((payload != NULL) && (payload_len > 0U))
  {
    (void)memcpy(&frame[8], payload, payload_len);
  }

  crc = usb_cmd_crc16_ccitt(frame, (uint32_t)(6U + response_payload_len));
  frame[6U + response_payload_len] = (uint8_t)(crc & 0xFFU);
  frame[7U + response_payload_len] = (uint8_t)((crc >> 8) & 0xFFU);

  frame_len = (uint8_t)(8U + response_payload_len);
  return usb_stream_transmit_blocking(frame, frame_len);
}

static uint16_t usb_cmd_crc16_ccitt(const uint8_t* data, uint32_t length)
{
  uint16_t crc = 0xFFFFU;

  for (uint32_t i = 0U; i < length; i++)
  {
    crc ^= (uint16_t)data[i] << 8;
    for (uint8_t bit = 0U; bit < 8U; bit++)
    {
      if ((crc & 0x8000U) != 0U)
      {
        crc = (uint16_t)((crc << 1) ^ 0x1021U);
      }
      else
      {
        crc <<= 1;
      }
    }
  }

  return crc;
}

static void send_debug_status_line(void)
{
  char line[224];
  int n;
  uint8_t mod_div = 0xFF;

  if (hUsbDeviceHS.dev_state != USBD_STATE_CONFIGURED)
  {
    return;
  }

  if (epc660_power_state == EPC660_POWER_ON)
  {
    (void)epc_i2c_read(EPC_REG_MOD_DIV, &mod_div, EPC_DIRECT);
  }

  n = snprintf(line,
               sizeof(line),
               "ST s=%s sh=%lu ok=%lu sf=%lu cb=%lu to=%lu tx=%lu ta=%lu pc=%lu pr=%lu md=%u\r\n",
               capture_controller_state_to_string(capture_sm_state),
               (unsigned long)shutter_count,
               (unsigned long)start_dma_ok_count,
               (unsigned long)start_dma_fail_count,
               (unsigned long)frame_cb_count,
               (unsigned long)frame_timeout_count,
               (unsigned long)tx_frame_ok_count,
               (unsigned long)tx_frame_abort_count,
               (unsigned long)power_cycle_count,
               (unsigned long)pause_resume_count,
               (unsigned int)mod_div);

  if (n <= 0)
  {
    return;
  }

  if (n > (int)sizeof(line))
  {
    n = (int)sizeof(line);
  }

  (void)usb_stream_transmit_blocking((uint8_t*)line, (uint16_t)n);
}

static void run_capture_state_machine(void)
{
  capture_controller_ctx_t ctx = {
    .capture_sm_state = &capture_sm_state,
    .usb_capture_request_pending = &g_usb_capture_request_pending,
    .capture_request_active = &capture_request_active,
    .capture_recovery_attempted = &capture_recovery_attempted,
    .dcmi_error_flag = &dcmi_error_flag,
    .all_frames_ready = &all_frames_ready,
    .capture_wait_start_ms = &capture_wait_start_ms,
    .frame_timeout_count = &frame_timeout_count,
    .tx_frame_ok_count = &tx_frame_ok_count,
    .tx_frame_abort_count = &tx_frame_abort_count,
    .capture_wait_timeout_ms = CAPTURE_WAIT_TIMEOUT_MS
  };

  const capture_controller_ops_t ops = {
    .start_capture_once = start_capture_once,
    .process_and_transmit_data = process_and_transmit_data,
    .handle_dcmi_error = handle_dcmi_error,
    .dcmi_stop_abort_and_clear = dcmi_stop_abort_and_clear,
    .get_tick_ms = HAL_GetTick
  };

  capture_controller_run(&ctx, &ops);
}

static void handle_dcmi_error(void)
{
  // Keep this lightweight and deterministic in request mode.
  dcmi_error_flag = 0;
  dcmi_stop_abort_and_clear();
}

void HAL_DCMI_FrameEventCallback(DCMI_HandleTypeDef *hdcmi)
{
  if (hdcmi->Instance == DCMI)
  {
    frame_cb_count++;
    frame_ready = 1;
    all_frames_ready = 1;
  }
}
void HAL_DCMI_ErrorCallback(DCMI_HandleTypeDef *hdcmi)
{
    // Make sure this interrupt came from our specific DCMI peripheral
    if (hdcmi->Instance == DCMI)
    {
        uint32_t error_code = hdcmi->ErrorCode;

        // 1. Overrun Error (Extremely common!)
        // This means the camera sent data faster than the DMA could push it into RAM.
        if (error_code & HAL_DCMI_ERROR_OVR)
        {
            // TODO: Handle overrun (e.g., print warning, flash RED LED)
        }

        // 2. Synchronization Error
        // This means the DCMI detected a glitch or unexpected VSYNC/HSYNC pulse.
        if (error_code & HAL_DCMI_ERROR_SYNC)
        {
            // TODO: Handle sync error
        }

        // 3. Timeout Error
        // DCMI Timeout
        if (error_code & HAL_DCMI_ERROR_TIMEOUT)
        {
            // TODO: Handle line error
        }

        dcmi_error_flag = 1;
    }
}

void calculate_depth_simple(void)
{
  uint32_t saturated_count = 0;
  for (uint32_t i = 0; i < SINGLE_FRAME_SIZE; i++)
    {
		uint16_t raw1 = (p_frame1[i] & 0x0FFF);
		uint16_t raw2 = (p_frame2[i] & 0x0FFF);
		uint16_t raw3 = (p_frame3[i] & 0x0FFF);
		uint16_t raw4 = (p_frame4[i] & 0x0FFF);

		if ((raw1 == 0x0FFF) || (raw2 == 0x0FFF) || (raw3 == 0x0FFF) || (raw4 == 0x0FFF))
		{
			current_angle_buffer[i] = 0xFFFF;
			saturated_count++;
			continue;
		}

		int16_t i1 = (int16_t)(raw1 - 2048);
		int16_t i2 = (int16_t)(raw2 - 2048);
		int16_t i3 = (int16_t)(raw3 - 2048);
		int16_t i4 = (int16_t)(raw4 - 2048);

        int16_t Q = i4 - i2;
        int16_t I = i3 - i1;

        float phase = atan2f((float)Q, (float)I);
        if (phase < 0) phase += 2.0f * M_PI;

        current_angle_buffer[i] = (uint16_t)(phase * PHASE_TO_U16_SCALE);
    }

  saturated_pixel_count = saturated_count;
}

void calculate_amplitude_simple(void)
{
  uint32_t saturated_count = 0;
  // For stats, delete later
  uint64_t sum_dcs0 = 0;
  uint64_t sum_dcs1 = 0;
  uint64_t sum_dcs2 = 0;
  uint64_t sum_dcs3 = 0;
  uint64_t sum_abs_i = 0;
  uint64_t sum_abs_q = 0;
  uint32_t valid_count = 0;
  // For stats, delete later
  for (uint32_t i = 0; i < SINGLE_FRAME_SIZE; i++)
  {
  uint16_t raw1 = (p_frame1[i] & 0x0FFF);
  uint16_t raw2 = (p_frame2[i] & 0x0FFF);
  uint16_t raw3 = (p_frame3[i] & 0x0FFF);
  uint16_t raw4 = (p_frame4[i] & 0x0FFF);

  if ((raw1 == 0x0FFF) || (raw2 == 0x0FFF) || (raw3 == 0x0FFF) || (raw4 == 0x0FFF))
  {
    current_angle_buffer[i] = 0xFFFF;
    saturated_count++;
    continue;
  }

  int16_t i1 = (int16_t)(raw1 - 2048);
  int16_t i2 = (int16_t)(raw2 - 2048);
  int16_t i3 = (int16_t)(raw3 - 2048);
  int16_t i4 = (int16_t)(raw4 - 2048);

  int32_t q = (int32_t)i4 - (int32_t)i2;
  int32_t in_phase = (int32_t)i3 - (int32_t)i1;
  // For stats, delete later
  int32_t abs_i = (in_phase < 0) ? -in_phase : in_phase;
  int32_t abs_q = (q < 0) ? -q : q;

  sum_dcs0 += raw1;
  sum_dcs1 += raw2;
  sum_dcs2 += raw3;
  sum_dcs3 += raw4;
  sum_abs_i += (uint32_t)abs_i;
  sum_abs_q += (uint32_t)abs_q;
  valid_count++;
  // For stats, delete later
  float amplitude = 0.5f * sqrtf((float)(q * q + in_phase * in_phase));

  if (amplitude > 65534.0f)
  {
    amplitude = 65534.0f;
  }

  current_angle_buffer[i] = (uint16_t)(amplitude + 0.5f);
  }

  saturated_pixel_count = saturated_count;

  // For stats, delete later
  dbg_stats_valid_count = valid_count;
  dbg_stats_saturated_count = saturated_count;

  if (valid_count > 0)
  {
    float inv_valid = 1.0f / (float)valid_count;
    dbg_mean_dcs0 = (float)sum_dcs0 * inv_valid;
    dbg_mean_dcs1 = (float)sum_dcs1 * inv_valid;
    dbg_mean_dcs2 = (float)sum_dcs2 * inv_valid;
    dbg_mean_dcs3 = (float)sum_dcs3 * inv_valid;
    dbg_mean_abs_i = (float)sum_abs_i * inv_valid;
    dbg_mean_abs_q = (float)sum_abs_q * inv_valid;
  }
  else
  {
    dbg_mean_dcs0 = 0.0f;
    dbg_mean_dcs1 = 0.0f;
    dbg_mean_dcs2 = 0.0f;
    dbg_mean_dcs3 = 0.0f;
    dbg_mean_abs_i = 0.0f;
    dbg_mean_abs_q = 0.0f;
  }
  // For stats, delete later
}

void calculate_grayscale_simple(void)
{
  uint32_t saturated_count = 0;

  for (uint32_t i = 0; i < SINGLE_FRAME_SIZE; i++)
  {
    uint16_t raw = (p_frame1[i] & 0x0FFF);

    if (raw == 0x0FFF)
    {
      current_angle_buffer[i] = 0xFFFF;
      saturated_count++;
      continue;
    }

    current_angle_buffer[i] = raw;
  }

  saturated_pixel_count = saturated_count;
}

void HAL_GPIO_EXTI_Callback(uint16_t GPIO_Pin)
{
    /* Check if the interrupt came from BUTTON */
    if (GPIO_Pin == BUTTON_Pin)
    {
      uint32_t now = HAL_GetTick();

      if ((now - button_last_press_ms) >= BUTTON_DEBOUNCE_MS)
      {
        button_last_press_ms = now;
        epc660_power_toggle_request = 1;
      }
    }
}

/* EPC660 CONFIG PRESETS */
epc_status_t default_preset_4DCS()
{
	__NOP();
	volatile epc_status_t status;
	epc_set_measurement_mode(EPC_MODE_4DCS_TOF);
	epc_set_dclk_freq(EPC_DCLK_12MHZ);	// Slow Dclk speed
	epc_set_hsync_stretch(1);	//Hsync stretching
	status = epc_set_modulation_divider(0);	// Explicitly set 24MHz modulation
	if ((status = epc_set_integration_time_raw(2, 38399)) != EPC_OK) return status;	// This sets an integration time of 1.58us as per the datasheet
	epc_set_software_saturation_flag(1);

	return EPC_OK;
}
epc_status_t default_preset_grayscale()
{
	__NOP();
	volatile epc_status_t status;
	epc_set_measurement_mode(EPC_MODE_GRAYSCALE);
	epc_set_grayscale_mode(EPC_GS_MODULATED_LED);	// Illumination
	epc_set_dclk_freq(EPC_DCLK_12MHZ);	// Slow Dclk speed
	if (epc_i2c_write(0x3A, 0x30, EPC_DIRECT) != EPC_OK) return EPC_ERR;	// Grayscale setting thing
	epc_set_hsync_stretch(1);	//Hsync stretching
	status = epc_set_integration_time_raw(1, 4799);	// This sets an integration time of #### as per the datasheet

	return EPC_OK;
}
epc_status_t testing_preset()
{
	epc_status_t status;
	if ((status = epc_set_measurement_mode(EPC_MODE_4DCS_TOF)) != EPC_OK) return status;
	if ((status = epc_set_dclk_freq(EPC_DCLK_3MHZ)) != EPC_OK) return status;	// Slow Dclk speed
	if ((status = epc_set_hsync_stretch(1)) != EPC_OK) return status;	//Hsync stretching
	if ((status = epc_set_modulation_divider(0)) != EPC_OK) return status;	// Explicitly set 6MHz modulation
	if ((status = epc_set_integration_time_raw(1, 599)) != EPC_OK) return status;	// This sets an integration time of 1.58us as per the datasheet
	if ((status = epc_set_software_saturation_flag(1)) != EPC_OK) return status;

	return EPC_OK;
}
epc_status_t testing_preset2()
{
	epc_status_t status;
	if ((status = epc_set_measurement_mode(EPC_MODE_4DCS_TOF)) != EPC_OK) return status;

	if ((status = epc_set_dclk_freq(EPC_DCLK_24MHZ)) != EPC_OK) return status;	// Slow Dclk speed
	if ((status = epc_set_dclk_freq(EPC_DCLK_12MHZ)) != EPC_OK) return status;
	if ((status = epc_set_dclk_freq(EPC_DCLK_6MHZ)) != EPC_OK) return status;
	if ((status = epc_set_dclk_freq(EPC_DCLK_3MHZ)) != EPC_OK) return status;

	if ((status = epc_set_hsync_stretch(1)) != EPC_OK) return status;	//Hsync stretching
	if ((status = epc_set_hsync_stretch(0)) != EPC_OK) return status;

	if ((status = epc_set_modulation_divider(0)) != EPC_OK) return status;	// Explicitly set 6MHz modulation
	if ((status = epc_set_modulation_divider(1)) != EPC_OK) return status;
	if ((status = epc_set_modulation_divider(3)) != EPC_OK) return status;
	if ((status = epc_set_modulation_divider(7)) != EPC_OK) return status;
	if ((status = epc_set_modulation_divider(15)) != EPC_OK) return status;

	if ((status = epc_set_integration_time_raw(1, 75)) != EPC_OK) return status;	// This sets an integration time of 1.58us as per the datasheet
	if ((status = epc_set_integration_time_raw(1, 599)) != EPC_OK) return status;
	if ((status = epc_set_integration_time_raw(1, 4799)) != EPC_OK) return status;
	if ((status = epc_set_integration_time_raw(1, 9599)) != EPC_OK) return status;
	if ((status = epc_set_integration_time_raw(1, 19199)) != EPC_OK) return status;
	if ((status = epc_set_integration_time_raw(1, 38399)) != EPC_OK) return status;
	if ((status = epc_set_integration_time_raw(2, 38399)) != EPC_OK) return status;
	if ((status = epc_set_integration_time_raw(3, 38399)) != EPC_OK) return status;
	if ((status = epc_set_integration_time_raw(4, 38399)) != EPC_OK) return status;
	if ((status = epc_set_integration_time_raw(6, 38399)) != EPC_OK) return status;
	if ((status = epc_set_integration_time_raw(8, 38399)) != EPC_OK) return status;
	if ((status = epc_set_integration_time_raw(10, 38399)) != EPC_OK) return status;
	if ((status = epc_set_integration_time_raw(12, 38399)) != EPC_OK) return status;
	if ((status = epc_set_integration_time_raw(14, 38399)) != EPC_OK) return status;

	if ((status = epc_set_software_saturation_flag(1)) != EPC_OK) return status;
	if ((status = epc_set_software_saturation_flag(0)) != EPC_OK) return status;

	return EPC_OK;
}

/************************************************* USER DEFINED FUNCTIONS ********************************************/
/************************************************* USER DEFINED FUNCTIONS ********************************************/
/************************************************* USER DEFINED FUNCTIONS ********************************************/
/* USER CODE END 4 */

 /* MPU Configuration */

void MPU_Config(void)
{
  MPU_Region_InitTypeDef MPU_InitStruct = {0};

  /* Disables the MPU */
  HAL_MPU_Disable();

  /** Initializes and configures the Region and the memory to be protected
  */
  MPU_InitStruct.Enable = MPU_REGION_ENABLE;
  MPU_InitStruct.Number = MPU_REGION_NUMBER0;
  MPU_InitStruct.BaseAddress = 0x30000000;
  MPU_InitStruct.Size = MPU_REGION_SIZE_8KB;
  MPU_InitStruct.SubRegionDisable = 0x0;
  MPU_InitStruct.TypeExtField = MPU_TEX_LEVEL0;
  MPU_InitStruct.AccessPermission = MPU_REGION_FULL_ACCESS;
  MPU_InitStruct.DisableExec = MPU_INSTRUCTION_ACCESS_DISABLE;
  MPU_InitStruct.IsShareable = MPU_ACCESS_SHAREABLE;
  MPU_InitStruct.IsCacheable = MPU_ACCESS_NOT_CACHEABLE;
  MPU_InitStruct.IsBufferable = MPU_ACCESS_NOT_BUFFERABLE;

  HAL_MPU_ConfigRegion(&MPU_InitStruct);
  /* Enables the MPU */
  HAL_MPU_Enable(MPU_PRIVILEGED_DEFAULT);

}

void Error_Handler(void)
{
  /* USER CODE BEGIN Error_Handler_Debug */
  /* User can add his own implementation to report the HAL error return state */
  epc_emergency_power_down();
  __disable_irq();
  while (1)
  {
	HAL_GPIO_TogglePin(LED2_GPIO_Port, LED2_Pin);

	if (DWT->CTRL & DWT_CTRL_CYCCNTENA_Msk)
	{
	  uint32_t start = DWT->CYCCNT;
	  /* ~100 ms delay: SystemCoreClock/10 cycles */
	  uint32_t wait = SystemCoreClock / 10;
	  while ((DWT->CYCCNT - start) < wait) { __NOP(); }
	}
	else
	{
	  for (volatile uint32_t i = 0; i < 2400000; ++i) { __NOP(); } /* adjust for speed */
	}
  }
  /* USER CODE END Error_Handler_Debug */
}
